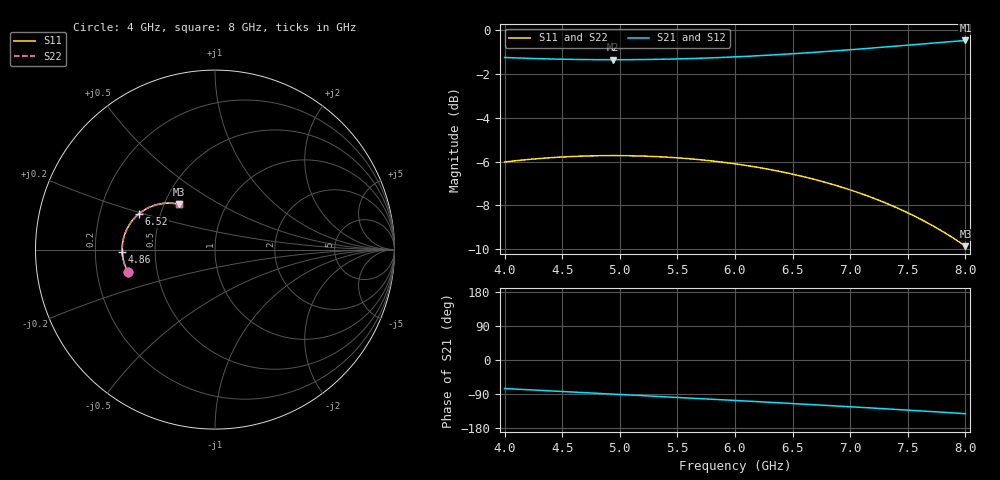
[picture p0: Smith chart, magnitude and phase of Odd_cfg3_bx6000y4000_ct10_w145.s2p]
! Sonnet Data File
! From: emgraph Version : 16.52
! From Emgraph Data: Waveguide2
! Data File Written: 09/24/2017 15:18:26
!< HDATE 09/24/2017 13:01:43
!< MDATE 09/24/2017 13:01:43
!< PARAMS
!< hWid = 5.0
!< gap = 6.0
!< Pwid = 145.0
!< END PARAMS
# GHZ S MA R 50.00000
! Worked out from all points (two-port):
!   201 points, 4 GHz to 8 GHz, reference 50 ohm
!   highest |S21| = -0.47 dB at 8 GHz (marker M1); lowest = -1.4 dB at 4.94 GHz (marker M2)
!   |S21| within 3 dB of the highest: start of sweep to end of sweep
!   lowest |S11| = -9.9 dB at 8 GHz (marker M3), VSWR 1.95, Z = 29.8 + j16.8 ohm
!   |S11| at or under -10 dB: nowhere
!   |S22| runs from -9.9 to -5.7 dB; largest |S21 - S12| = 0
!   S11 on the Smith chart (normalised r, x): 4 GHz: 0.34, -0.11; 4.86 GHz: 0.32, -0.01; 6.52 GHz: 0.38, +0.19; 8 GHz: 0.60, +0.34
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4  0.5002 -165.3  0.8659 -75.3  0.8659 -75.3  0.5002 -165.3
!< P1 F=4.0 Eeff=(6.40005269 -2.9448e-5) Z0=(28.2046892 6.49252e-5) R=0.00231674 C=0.07967323
!< P2 F=4.0 Eeff=(6.40005269 -2.9448e-5) Z0=(28.2046892 6.49252e-5) R=0.00231674 C=0.07967323
4.36  0.5108 -171.0  0.8597 -81.0  0.8597 -81.0  0.5108 -171.0
4.68  0.516 -176.0  0.8566 -86.0  0.8566 -86.0  0.516 -176.0
4.86  0.5172 -178.8  0.8559 -88.8  0.8559 -88.8  0.5172 -178.8
4.94  0.5173 180.0  0.8558 -90.0  0.8558 -90.0  0.5173 180.0
5.14  0.5166 176.8  0.8563 -93.2  0.8563 -93.2  0.5166 176.8
5.34  0.5143 173.7  0.8576 -96.3  0.8576 -96.3  0.5143 173.7
5.66  0.5073 168.7  0.8617 -101.3  0.8617 -101.3  0.5073 168.7
5.9  0.4995 164.8  0.8663 -105.1  0.8663 -105.1  0.4995 164.8
6  0.4955 163.2  0.8686 -106.8  0.8686 -106.8  0.4955 163.2
6.32  0.48 158.1  0.8773 -111.9  0.8773 -111.9  0.48 158.1
6.52  0.4681 154.8  0.8837 -115.3  0.8837 -115.3  0.4681 154.8
6.68  0.4572 152.1  0.8893 -117.9  0.8893 -117.9  0.4572 152.1
6.84  0.4453 149.3  0.8954 -120.6  0.8954 -120.6  0.4453 149.3
6.98  0.4338 146.9  0.901 -123.1  0.901 -123.1  0.4338 146.9
7.02  0.4304 146.2  0.9026 -123.7  0.9026 -123.7  0.4304 146.2
7.18  0.4159 143.4  0.9094 -126.5  0.9094 -126.5  0.4159 143.4
7.34  0.4001 140.6  0.9165 -129.4  0.9165 -129.4  0.4001 140.6
7.52  0.3808 137.3  0.9247 -132.6  0.9247 -132.6  0.3808 137.3
7.64  0.3671 135.2  0.9302 -134.8  0.9302 -134.8  0.3671 135.2
7.86  0.34 131.1  0.9404 -138.9  0.9404 -138.9  0.34 131.1
8  0.3216 128.4  0.9469 -141.6  0.9469 -141.6  0.3216 128.4
